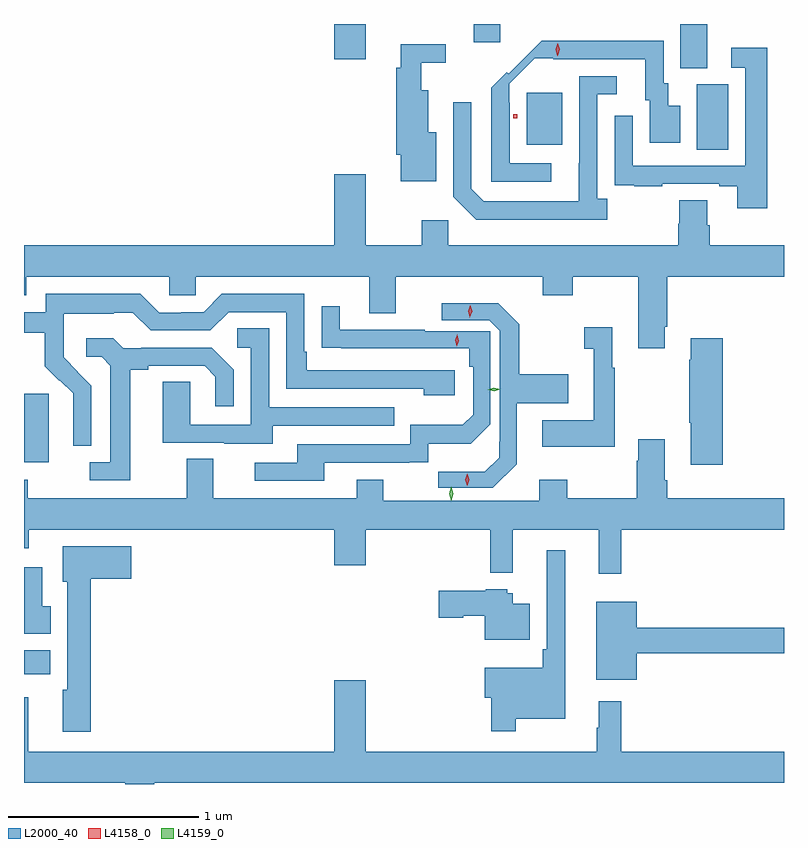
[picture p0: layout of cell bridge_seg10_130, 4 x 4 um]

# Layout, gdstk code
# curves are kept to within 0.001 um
import gdstk
lib = gdstk.Library(unit=1e-6, precision=1e-09)
def R(c, l, rs):  # rectangles x0, y0, x1, y1
    for r in rs: c.add(gdstk.rectangle(r[:2], r[2:], *l))
def P(c, l, *ps):  # polygons
    for p in ps: c.add(gdstk.Polygon(p, *l))
L2000_40 = (2000, 40)
L4158_0 = (4158, 0)
L4159_0 = (4159, 0)

bridge_seg10_130 = lib.new_cell('bridge_seg10_130')
R(bridge_seg10_130, L2000_40, [(355.182,1298.222,355.321,1298.35), (355.182,1299.338,355.312,1299.699), (358.724,1300.984,358.888,1301.328), (357.827,1301.009,358.015,1301.284), (358.637,1301.413,358.777,1301.645), (356.816,1301.46,356.98,1301.645), (357.548,1301.549,357.688,1301.645)])
P(bridge_seg10_130, L2000_40, [(357.958,1300.911),(357.738,1300.911),(357.738,1301.231),(357.735,1301.231),(357.735,1301.331),(357.87,1301.466),(357.967,1301.466),(357.967,1301.46),(358.451,1301.46),(358.451,1301.244),(358.475,1301.244),(358.475,1301.019),(358.636,1301.019),(358.636,1301.215),(358.573,1301.215),(358.573,1301.334),(358.548,1301.334),(358.548,1301.556),(357.907,1301.556),(357.733,1301.382),(357.723,1301.391),(357.642,1301.309),(357.642,1300.815),(357.958,1300.815)],
  [(357.352,1301.074),(357.31,1301.074),(357.31,1301.296),(357.274,1301.296),(357.274,1301.441),(357.403,1301.441),(357.403,1301.538),(357.164,1301.538),(357.164,1301.414),(357.14,1301.414),(357.14,1300.956),(357.164,1300.956),(357.164,1300.817),(357.352,1300.817)],
  [(359.093,1301.521),(358.905,1301.521),(358.905,1301.415),(358.977,1301.415),(358.977,1300.899),(358.386,1300.899),(358.386,1301.161),(358.29,1301.161),(358.29,1300.906),(358.291,1300.906),(358.291,1300.797),(358.393,1300.797),(358.393,1300.791),(358.541,1300.791),(358.541,1300.803),(358.841,1300.803),(358.841,1300.791),(358.937,1300.791),(358.937,1300.674),(359.093,1300.674)],
  [(358.252,1300.726),(358.2,1300.726),(358.2,1301.274),(358.303,1301.274),(358.303,1301.37),(358.104,1301.37),(358.103,1300.713),(357.603,1300.713),(357.537,1300.779),(357.537,1301.233),(357.441,1301.233),(357.441,1300.737),(357.562,1300.616),(358.252,1300.616)],
  [(358.555,1300.051),(358.568,1300.051),(358.568,1300.316),(359.182,1300.316),(359.182,1300.48),(358.79,1300.48),(358.79,1300.586),(358.777,1300.586),(358.777,1300.718),(358.63,1300.718),(358.63,1300.593),(358.625,1300.593),(358.625,1300.48),(357.414,1300.48),(357.414,1300.612),(357.275,1300.612),(357.275,1300.48),(356.98,1300.48),(356.98,1300.855),(356.816,1300.855),(356.816,1300.48),(355.182,1300.48),(355.182,1300.217),(355.195,1300.217),(355.195,1300.316),(355.947,1300.316),(355.947,1300.218),(356.085,1300.218),(356.085,1300.316),(356.999,1300.316),(356.999,1300.122),(357.139,1300.122),(357.139,1300.316),(357.911,1300.316),(357.911,1300.217),(358.071,1300.217),(358.071,1300.316),(358.415,1300.316),(358.415,1299.939),(358.555,1299.939)],
  [(355.536,1299.742),(355.39,1299.89),(355.39,1299.987),(355.392,1299.987),(355.392,1300.121),(355.655,1300.121),(355.655,1300.125),(355.755,1300.125),(355.848,1300.032),(356.163,1300.032),(356.259,1300.128),(356.562,1300.128),(356.562,1299.726),(357.287,1299.726),(357.287,1299.692),(357.448,1299.692),(357.448,1299.822),(356.671,1299.822),(356.671,1299.919),(356.658,1299.919),(356.658,1300.224),(356.223,1300.224),(356.127,1300.128),(356.009,1300.128),(356.009,1300.125),(355.893,1300.125),(355.793,1300.225),(355.296,1300.225),(355.296,1300.128),(355.182,1300.128),(355.182,1300.02),(355.291,1300.02),(355.291,1299.845),(355.368,1299.768),(355.371,1299.771),(355.442,1299.701),(355.442,1299.578),(355.44,1299.578),(355.44,1299.424),(355.536,1299.424)],
  [(357.775,1299.329),(357.775,1299.648),(358.047,1299.648),(358.047,1299.801),(357.788,1299.801),(357.788,1300.066),(357.678,1300.176),(357.38,1300.176),(357.38,1300.086),(357.63,1300.086),(357.685,1300.031),(357.685,1299.446),(357.683,1299.446),(357.683,1299.362),(357.608,1299.288),(357.362,1299.289),(357.362,1299.204),(357.649,1299.204)],
  [(356.761,1299.336),(357.209,1299.336),(357.209,1299.339),(357.309,1299.339),(357.309,1299.437),(357.533,1299.437),(357.635,1299.539),(357.635,1300.028),(357.292,1300.028),(357.292,1300.035),(356.845,1300.035),(356.845,1300.159),(356.749,1300.159),(356.749,1299.94),(356.851,1299.94),(356.851,1299.938),(357.526,1299.938),(357.526,1299.842),(357.546,1299.842),(357.546,1299.589),(357.492,1299.535),(357.216,1299.535),(357.216,1299.432),(356.621,1299.432),(356.621,1299.336),(356.397,1299.336),(356.397,1299.24),(356.761,1299.24)],
  [(358.291,1299.835),(358.279,1299.835),(358.279,1300.048),(358.131,1300.048),(358.131,1299.935),(358.181,1299.935),(358.181,1299.559),(357.909,1299.559),(357.909,1299.419),(358.291,1299.419)],
  [(356.491,1299.531),(357.131,1299.531),(357.131,1299.627),(356.472,1299.627),(356.472,1300.043),(356.304,1300.043),(356.304,1299.942),(356.376,1299.942),(356.376,1299.537),(356.058,1299.537),(356.058,1299.761),(355.913,1299.761),(355.913,1299.441),(356.237,1299.441),(356.237,1299.437),(356.491,1299.437)],
  [(355.741,1299.824),(355.837,1299.824),(355.837,1299.846),(356.132,1299.846),(356.189,1299.789),(356.189,1299.633),(356.286,1299.633),(356.286,1299.826),(356.17,1299.942),(355.798,1299.942),(355.798,1299.939),(355.704,1299.939),(355.652,1299.991),(355.509,1299.991),(355.509,1299.894),(355.59,1299.894),(355.637,1299.847),(355.637,1299.339),(355.527,1299.339),(355.527,1299.243),(355.741,1299.243)],
  [(358.859,1299.991),(358.691,1299.991),(358.691,1299.878),(358.684,1299.878),(358.684,1299.547),(358.691,1299.547),(358.691,1299.324),(358.859,1299.324)],
  [(358.325,1298.984),(359.182,1298.984),(359.182,1299.148),(358.568,1299.148),(358.568,1299.244),(358.555,1299.244),(358.555,1299.46),(358.415,1299.46),(358.415,1299.347),(358.408,1299.347),(358.408,1299.148),(358.041,1299.148),(358.041,1299.247),(357.893,1299.247),(357.893,1299.137),(357.073,1299.137),(357.073,1299.247),(356.933,1299.247),(356.933,1299.148),(356.179,1299.148),(356.179,1299.356),(356.039,1299.356),(356.039,1299.148),(355.203,1299.148),(355.203,1299.247),(355.182,1299.247),(355.182,1298.885),(355.207,1298.885),(355.207,1298.984),(356.816,1298.984),(356.816,1298.796),(356.98,1298.796),(356.98,1298.984),(357.637,1298.984),(357.637,1298.756),(357.755,1298.756),(357.755,1298.984),(358.208,1298.984),(358.208,1298.751),(358.325,1298.751)],
  [(355.532,1298.726),(355.747,1298.726),(355.747,1298.896),(355.385,1298.896),(355.385,1298.709),(355.409,1298.709),(355.409,1298.142),(355.385,1298.142),(355.385,1297.92),(355.532,1297.92)],
  [(357.769,1297.988),(358.03,1297.988),(358.03,1298.875),(357.933,1298.875),(357.933,1298.353),(357.913,1298.353),(357.913,1298.257),(357.606,1298.257),(357.606,1298.099),(357.64,1298.099),(357.64,1297.923),(357.769,1297.923)],
  [(355.324,1298.58),(355.279,1298.58),(355.279,1298.785),(355.182,1298.785),(355.182,1298.436),(355.324,1298.436)],
  [(357.844,1298.593),(357.754,1298.593),(357.754,1298.649),(357.726,1298.649),(357.726,1298.671),(357.612,1298.671),(357.612,1298.661),(357.366,1298.661),(357.366,1298.519),(357.495,1298.519),(357.495,1298.531),(357.608,1298.531),(357.608,1298.405),(357.844,1298.405)],
  [(358.408,1298.332),(359.182,1298.332),(359.182,1298.468),(358.408,1298.468),(358.408,1298.605),(358.193,1298.605),(358.193,1298.195),(358.408,1298.195)],
  [(355.868,1297.652),(359.182,1297.652),(359.182,1297.816),(358.325,1297.816),(358.325,1298.08),(358.208,1298.08),(358.208,1297.94),(358.197,1297.94),(358.197,1297.816),(356.98,1297.816),(356.98,1298.191),(356.816,1298.191),(356.816,1297.816),(355.205,1297.816),(355.205,1298.101),(355.182,1298.101),(355.182,1297.652),(355.716,1297.652),(355.716,1297.645),(355.868,1297.645)])
R(bridge_seg10_130, L4158_0, [(357.758,1301.15,357.778,1301.17)])
P(bridge_seg10_130, L4158_0, [(357.989,1301.477),(357.981,1301.512),(357.992,1301.545),(357.992,1301.545),(357.992,1301.545),(358.001,1301.511),(357.99,1301.477),(357.99,1301.477)],
  [(357.529,1300.1),(357.529,1300.101),(357.519,1300.133),(357.53,1300.165),(357.53,1300.165),(357.53,1300.165),(357.54,1300.132),(357.529,1300.101)],
  [(357.514,1299.215),(357.514,1299.216),(357.505,1299.247),(357.516,1299.277),(357.516,1299.277),(357.516,1299.277),(357.525,1299.246),(357.514,1299.216)],
  [(357.459,1299.948),(357.459,1299.948),(357.451,1299.98),(357.462,1300.01),(357.463,1300.011),(357.463,1300.01),(357.471,1299.979),(357.46,1299.948)])
P(bridge_seg10_130, L4159_0, [(357.656,1299.711),(357.623,1299.72),(357.623,1299.72),(357.623,1299.72),(357.655,1299.731),(357.688,1299.722),(357.688,1299.722),(357.688,1299.722)],
  [(357.431,1299.136),(357.43,1299.137),(357.421,1299.173),(357.431,1299.209),(357.431,1299.209),(357.431,1299.209),(357.441,1299.173),(357.431,1299.137)])

lib.write_gds('bridge_seg10_130.gds')
